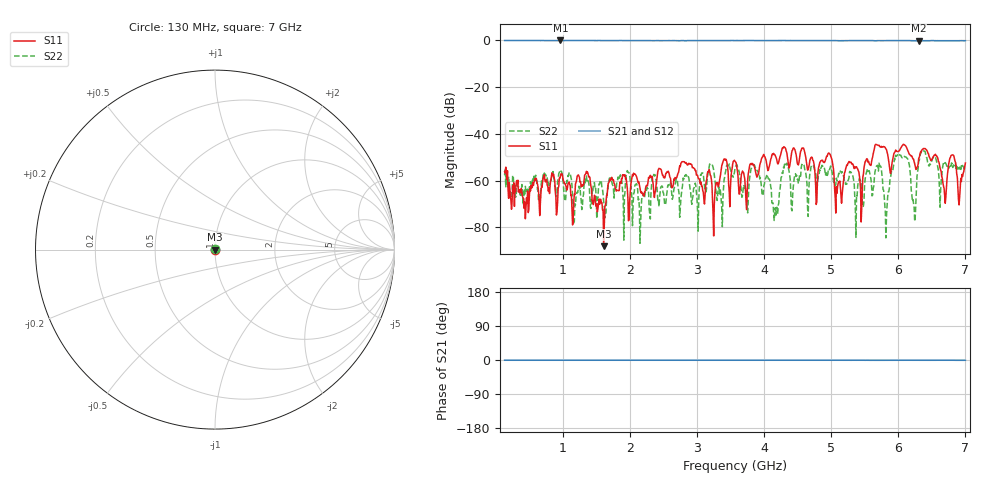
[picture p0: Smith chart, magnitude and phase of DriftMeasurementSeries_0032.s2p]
# Hz S RI R 50.000000
! Metas.Vna.Tools, 2.8.8664.20301
! Metas.Vna.Data, 2.8.8664.20285
! Created: UTC 2024.02.11 10:08:16
! FREQ  re:S1,1  im:S1,1  re:S2,1  im:S2,1  re:S1,2  im:S1,2  re:S2,2  im:S2,2
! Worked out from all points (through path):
!   801 points, 130 MHz to 7 GHz, reference 50 ohm
!   highest |S21| = -0.02 dB at 963 MHz (marker M1); lowest = -0.2 dB at 6.304 GHz (marker M2)
!   lowest |S11| = -88.0 dB at 1.607 GHz (marker M3), VSWR 1.00, Z = 50 + j0.00355 ohm
!   |S11| at or under -10 dB: start of sweep to end of sweep
!   |S22| runs from -86.8 to -47.1 dB; largest |S21 - S12| = 0.018
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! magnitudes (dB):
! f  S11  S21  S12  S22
! 130 MHz  -56.1  -0.1  0.0  -57.6
! 456.3 MHz  -67.3  0.0  0.0  -63.6
! 963 MHz  -57.9  0.0  0.0  -55.4
! 1.281 GHz  -61.9  0.0  0.0  -72.3
! 1.607 GHz  -88.0  -0.1  0.0  -68.8
! 1.71 GHz  -59.9  -0.1  0.0  -58.8
! 2.423 GHz  -55.2  -0.1  0.0  -67.9
! 3.256 GHz  -70.5  -0.1  0.0  -57.4
! 3.565 GHz  -51.8  -0.1  0.0  -54.8
! 4.175 GHz  -49.9  -0.1  0.0  -74.7
! 4.321 GHz  -46.4  -0.1  0.0  -52.4
! 4.415 GHz  -47.2  -0.1  0.0  -72.9
! 4.716 GHz  -50.0  -0.1  0.0  -53.3
! 4.982 GHz  -48.6  -0.1  0.0  -54.8
! 5.085 GHz  -65.4  -0.1  0.0  -60.2
! 5.858 GHz  -51.8  -0.1  0.0  -64.7
! 6.107 GHz  -45.0  -0.1  0.0  -49.8
! 6.236 GHz  -51.9  -0.1  0.0  -71.4
! 6.304 GHz  -50.4  -0.2  0.0  -51.4
! 6.691 GHz  -66.6  -0.1  0.0  -52.5
! 6.794 GHz  -49.1  -0.1  0.0  -52.4
! 7 GHz  -52.4  -0.1  0.0  -55.1
